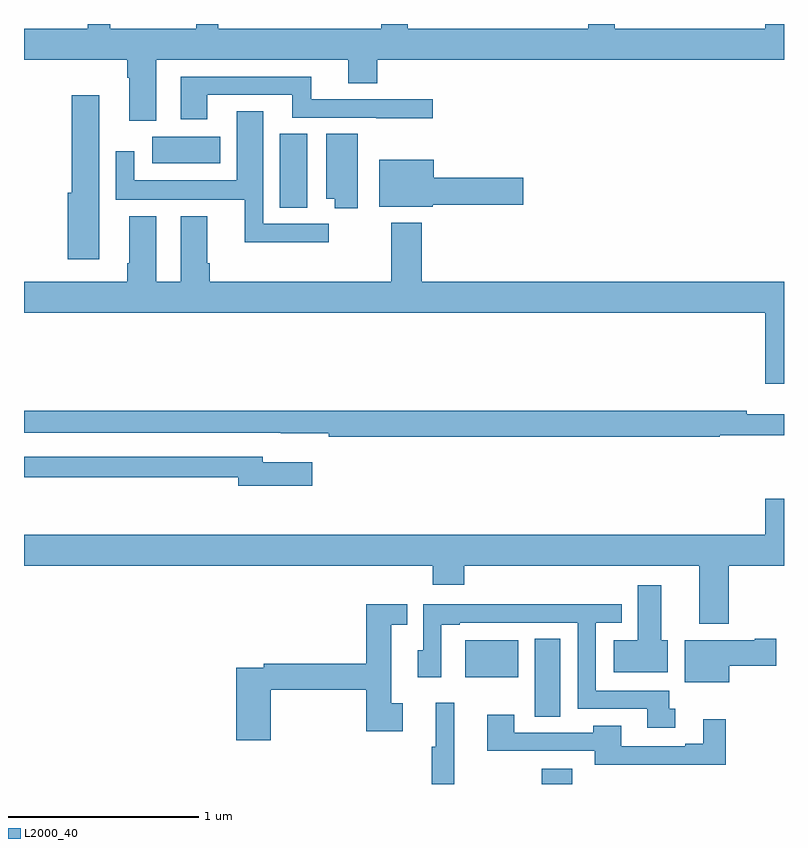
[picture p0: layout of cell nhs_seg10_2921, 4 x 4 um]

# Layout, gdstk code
import gdstk
lib = gdstk.Library(unit=1e-6, precision=1e-09)
def R(c, l, rs):  # rectangles x0, y0, x1, y1
    for r in rs: c.add(gdstk.rectangle(r[:2], r[2:], *l))
def P(c, l, *ps):  # polygons
    for p in ps: c.add(gdstk.Polygon(p, *l))
L2000_40 = (2000, 40)

nhs_seg10_2921 = lib.new_cell('nhs_seg10_2921')
R(nhs_seg10_2921, L2000_40, [(271.726,1300.5,271.886,1300.579), (271.688,1300.855,271.822,1301.264), (271.322,1301.063,271.6,1301.257), (270.347,1303.534,270.49,1303.922), (269.676,1303.766,270.034,1303.906)])
P(nhs_seg10_2921, L2000_40, [(269.335,1304.5),(269.335,1304.476),(269,1304.476),(269,1304.312),(269.543,1304.312),(269.543,1304.216),(269.555,1304.216),(269.555,1303.992),(269.695,1303.992),(269.695,1304.312),(270.707,1304.312),(270.707,1304.188),(270.86,1304.188),(270.86,1304.312),(273,1304.312),(273,1304.5),(272.9,1304.5),(272.9,1304.476),(272.11,1304.476),(272.11,1304.5),(271.971,1304.5),(271.971,1304.476),(271.021,1304.476),(271.021,1304.5),(270.881,1304.5),(270.881,1304.476),(270.023,1304.476),(270.023,1304.5),(269.906,1304.5),(269.906,1304.476),(269.453,1304.476),(269.453,1304.5)],
  [(269.965,1304.127),(270.413,1304.127),(270.413,1304.007),(270.853,1304.007),(270.853,1304.005),(271.15,1304.005),(271.15,1304.103),(270.512,1304.103),(270.512,1304.223),(269.825,1304.223),(269.825,1303.998),(269.965,1303.998)],
  [(269.395,1304.125),(269.251,1304.125),(269.251,1303.611),(269.23,1303.611),(269.23,1303.263),(269.395,1303.263)],
  [(270.604,1303.449),(270.259,1303.449),(270.259,1304.042),(270.119,1304.042),(270.119,1303.678),(269.58,1303.678),(269.58,1303.831),(269.484,1303.831),(269.484,1303.574),(270.161,1303.574),(270.161,1303.352),(270.604,1303.352)],
  [(270.757,1303.922),(270.59,1303.922),(270.59,1303.58),(270.635,1303.58),(270.635,1303.53),(270.757,1303.53)],
  [(271.152,1303.549),(271.627,1303.549),(271.627,1303.691),(271.156,1303.691),(271.156,1303.786),(270.869,1303.786),(270.869,1303.538),(271.152,1303.538)],
  [(273,1303.144),(271.094,1303.144),(271.094,1303.453),(270.934,1303.453),(270.934,1303.144),(269.978,1303.144),(269.978,1303.24),(269.965,1303.24),(269.965,1303.489),(269.825,1303.489),(269.825,1303.144),(269.695,1303.144),(269.695,1303.489),(269.555,1303.489),(269.555,1303.24),(269.543,1303.24),(269.543,1303.144),(269,1303.144),(269,1302.98),(272.9,1302.98),(272.9,1302.606),(273,1302.606)],
  [(272.662,1302.336),(273,1302.336),(273,1302.445),(272.804,1302.445),(272.804,1302.464),(269,1302.464),(269,1302.348),(270.352,1302.348),(270.352,1302.347),(270.604,1302.347),(270.604,1302.328),(272.662,1302.328)],
  [(270.517,1302.193),(270.256,1302.193),(270.256,1302.222),(269,1302.222),(269,1302.114),(270.128,1302.114),(270.128,1302.071),(270.517,1302.071)],
  [(272.708,1301.648),(273,1301.648),(273,1302.001),(272.9,1302.001),(272.9,1301.812),(269,1301.812),(269,1301.648),(271.151,1301.648),(271.151,1301.549),(271.316,1301.549),(271.316,1301.648),(272.555,1301.648),(272.555,1301.343),(272.708,1301.343)],
  [(272.389,1301.257),(272.353,1301.257),(272.353,1301.545),(272.231,1301.545),(272.231,1301.257),(272.105,1301.257),(272.105,1301.087),(272.389,1301.087)],
  [(270.299,1300.996),(270.8,1300.996),(270.8,1300.778),(270.994,1300.778),(270.994,1300.926),(270.934,1300.926),(270.934,1301.337),(271.016,1301.337),(271.016,1301.447),(270.8,1301.447),(270.8,1301.132),(270.262,1301.132),(270.262,1301.112),(270.116,1301.112),(270.116,1300.731),(270.299,1300.731)],
  [(272.428,1300.895),(272.396,1300.895),(272.396,1300.992),(272.01,1300.992),(272.01,1301.349),(272.146,1301.349),(272.146,1301.447),(271.399,1301.447),(271.399,1301.445),(271.101,1301.445),(271.101,1301.205),(271.073,1301.205),(271.073,1301.061),(271.197,1301.061),(271.197,1301.337),(271.294,1301.337),(271.294,1301.349),(271.914,1301.349),(271.914,1300.896),(272.279,1300.896),(272.279,1300.797),(272.428,1300.797)],
  [(272.713,1301.123),(272.959,1301.123),(272.959,1301.265),(272.846,1301.265),(272.846,1301.257),(272.477,1301.257),(272.477,1301.036),(272.713,1301.036)],
  [(271.264,1300.927),(271.166,1300.927),(271.166,1300.695),(271.147,1300.695),(271.147,1300.5),(271.264,1300.5)],
  [(272.693,1300.84),(272.576,1300.84),(272.576,1300.711),(272.48,1300.711),(272.48,1300.698),(272.143,1300.698),(272.143,1300.807),(271.996,1300.807),(271.996,1300.77),(271.579,1300.77),(271.579,1300.864),(271.439,1300.864),(271.439,1300.674),(272.003,1300.674),(272.003,1300.602),(272.693,1300.602)])

lib.write_gds('nhs_seg10_2921.gds')
